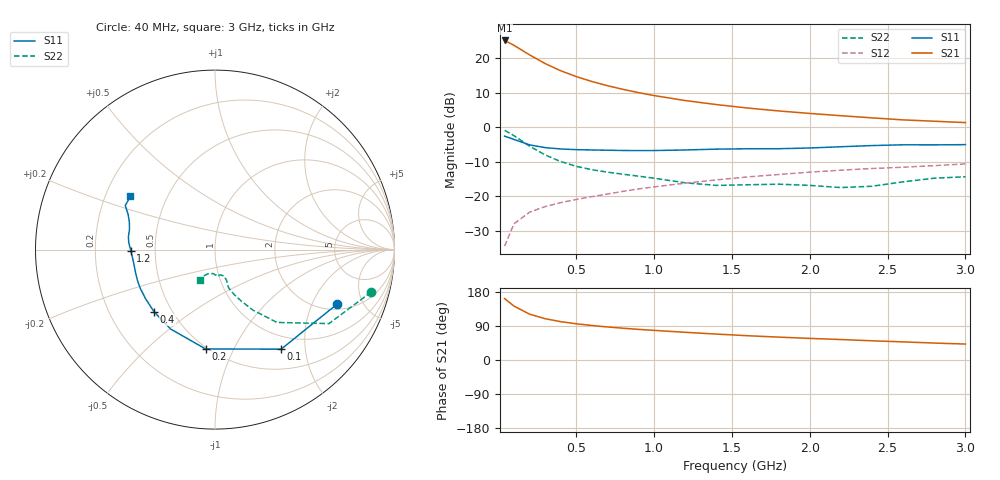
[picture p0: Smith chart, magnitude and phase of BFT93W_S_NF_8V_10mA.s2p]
! Filename:  BFT93WF.S2P  Version:  4.0
! Philips part #: BFT93W  Date: Jun 1994
! Bias condition: Vce=10V, Ic=10mA
#  MHz  S  MA  R  50
! Freq  S11  S21  S12  S22  !GUM [dB]
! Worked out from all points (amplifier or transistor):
!   21 points, 40 MHz to 3 GHz, reference 50 ohm
!   highest |S21| = 25.1 dB at 40 MHz (marker M1)
!   |S21| within 3 dB of that: start of sweep to 157.9 MHz
!   unconditionally stable (mu >= 1): 757.9 MHz to end of sweep
!   at 300 MHz: K = 0.64, MSG = 20.7 dB, |S12| = -23.0 dB
!   at 1 GHz: K = 1.08, MAG = 11.5 dB, |S12| = -17.3 dB
!   at 3 GHz: K = 1.10, MAG = 4.1 dB, |S12| = -10.6 dB
!   lowest NFmin = 2.40 dB at 500 MHz
!   S11 on the Smith chart (normalised r, x): 40 MHz: 2.27, -3.11; 100 MHz: 0.79, -1.57; 200 MHz: 0.49, -0.78; 400 MHz: 0.40, -0.36; 1.2 GHz: 0.36, -0.01; 3 GHz: 0.30, +0.27
40  0.744 -24.2  18.03 162.0  0.019 77.2  0.902 -15.2
100  0.666 -56.4  15.34 142.3  0.04 63.6  0.757 -33.0
200  0.556 -95.4  11.17 121.0  0.059 53.5  0.533 -49.6
300  0.507 -119.1  8.353 109.0  0.071 50.8  0.398 -57.9
400  0.485 -134.4  6.576 101.2  0.081 51.0  0.319 -63.2
500  0.474 -144.5  5.412 95.6  0.09 52.2  0.272 -66.9
600  0.469 -152.4  4.597 91.1  0.099 53.7  0.243 -69.2
700  0.465 -158.4  3.997 87.2  0.108 54.9  0.224 -70.3
800  0.461 -163.5  3.537 83.9  0.118 56.1  0.209 -70.3
900  0.459 -168.1  3.17 80.8  0.128 57.0  0.196 -69.7
1000  0.46 -172.3  2.875 78.2  0.137 57.8  0.183 -69.3
1200  0.469 -179.3  2.435 73.1  0.155 59.1  0.157 -71.0
1400  0.482 175.4  2.13 68.4  0.173 59.8  0.144 -77.4
1600  0.488 171.5  1.898 64.1  0.191 59.7  0.147 -83.7
1800  0.489 167.2  1.723 60.4  0.207 59.9  0.15 -85.2
2000  0.501 162.2  1.584 57.0  0.224 60.3  0.144 -87.1
2200  0.522 158.0  1.469 54.0  0.239 60.6  0.134 -94.3
2400  0.543 155.4  1.367 50.7  0.253 60.7  0.14 -106.3
2600  0.557 153.8  1.278 47.8  0.264 60.3  0.162 -113.7
2800  0.556 151.0  1.222 44.7  0.278 60.4  0.183 -115.3
3000  0.56 147.6  1.168 42.1  0.295 60.4  0.192 -116.6
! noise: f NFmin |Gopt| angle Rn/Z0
500  2.4  0.27  83  0.4
1000  2.9  0.35  115  0.35
